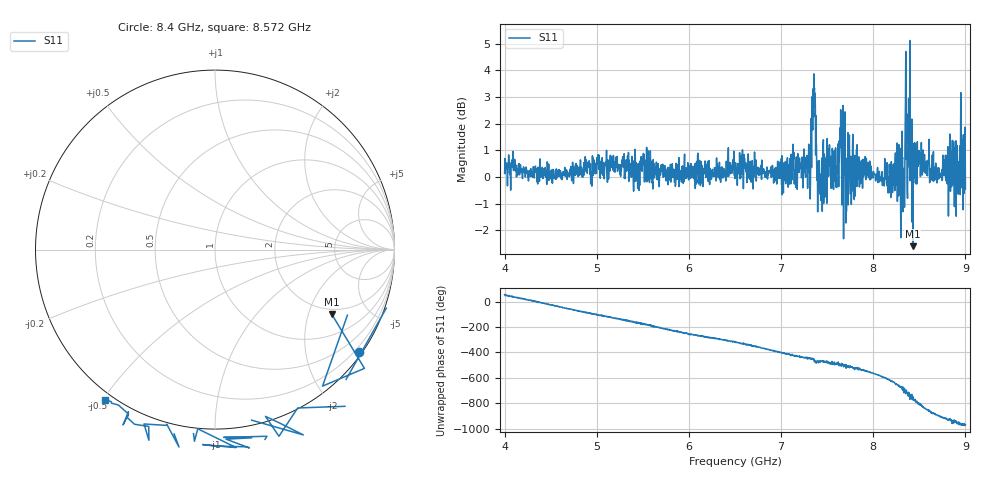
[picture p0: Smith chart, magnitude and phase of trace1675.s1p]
! Created with skrf 1.8.0 (http://scikit-rf.org).
# Hz S RI R 50.0
!freq ReS11 ImS11
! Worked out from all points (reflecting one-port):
!   1601 points, 4 GHz to 9 GHz, reference 50 ohm
!   lowest |S11| = -2.6 dB at 8.431 GHz (marker M1), VSWR 6.76, Z = 89.3 - j143 ohm
!   phase of S11 starts at 56 deg and turns -1026 deg over the sweep
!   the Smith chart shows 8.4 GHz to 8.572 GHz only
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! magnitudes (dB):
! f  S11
! 4 GHz  0.1
! 4.625 GHz  -0.1
! 5.25 GHz  0.1
! 5.875 GHz  0.1
! 6.5 GHz  -0.1
! 7.125 GHz  0.3
! 7.297 GHz  0.2
! 7.319 GHz  0.0
! 7.347 GHz  3.3
! 7.359 GHz  3.2
! 7.412 GHz  0.6
! 7.512 GHz  1.0
! 7.588 GHz  -0.1
! 7.65 GHz  1.5
! 7.703 GHz  -1.7
! 7.75 GHz  0.0
! 8.097 GHz  0.2
! 8.262 GHz  -0.9
! 8.316 GHz  0.7
! 8.334 GHz  -0.6
! 8.347 GHz  1.9
! 8.375 GHz  0.9
! 8.431 GHz  -2.6
! 8.503 GHz  0.8
! 8.706 GHz  -0.1
! 8.903 GHz  1.2
! 8.972 GHz  0.3
! 9 GHz  -0.5
